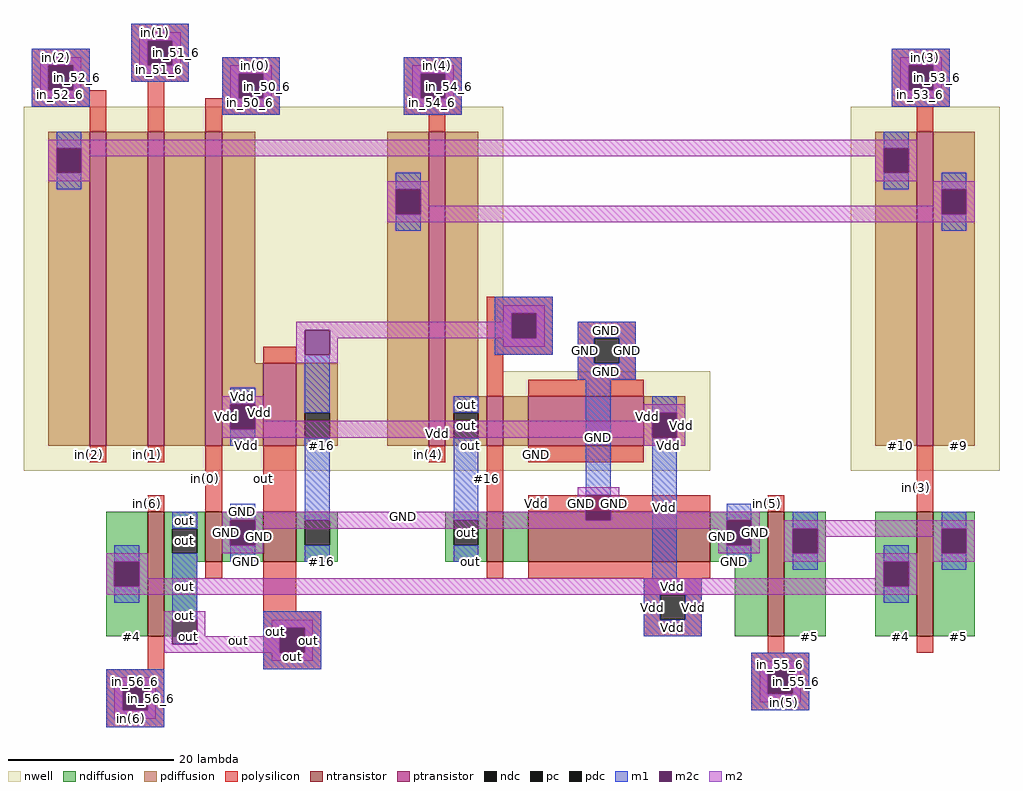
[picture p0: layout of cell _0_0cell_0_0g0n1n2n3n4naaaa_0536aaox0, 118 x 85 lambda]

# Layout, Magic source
magic
tech sky130l
<< nwell >>
rect 5 45 63 77
rect 5 33 88 45
rect 105 33 123 77
<< ndiffusion >>
rect 15 22 20 28
rect 15 19 16 22
rect 19 19 20 22
rect 15 13 20 19
rect 22 26 27 28
rect 22 23 23 26
rect 26 23 27 26
rect 22 22 27 23
rect 29 27 34 28
rect 29 24 30 27
rect 33 24 34 27
rect 29 22 34 24
rect 38 27 43 28
rect 38 24 39 27
rect 42 24 43 27
rect 38 22 43 24
rect 56 27 61 28
rect 56 24 57 27
rect 60 24 61 27
rect 56 22 61 24
rect 63 22 66 28
rect 88 27 95 28
rect 88 24 90 27
rect 93 24 95 27
rect 88 22 95 24
rect 22 13 26 22
rect 91 13 95 22
rect 97 26 102 28
rect 97 23 98 26
rect 101 23 102 26
rect 97 13 102 23
rect 108 22 113 28
rect 108 19 109 22
rect 112 19 113 22
rect 108 13 113 19
rect 115 26 120 28
rect 115 23 116 26
rect 119 23 120 26
rect 115 13 120 23
<< ndc >>
rect 16 19 19 22
rect 23 23 26 26
rect 30 24 33 27
rect 39 24 42 27
rect 57 24 60 27
rect 90 24 93 27
rect 98 23 101 26
rect 109 19 112 22
rect 116 23 119 26
<< ntransistor >>
rect 20 13 22 28
rect 27 22 29 28
rect 34 22 38 28
rect 61 22 63 28
rect 66 22 88 28
rect 95 13 97 28
rect 113 13 115 28
<< pdiffusion >>
rect 8 72 13 74
rect 8 69 9 72
rect 12 69 13 72
rect 8 36 13 69
rect 15 36 20 74
rect 22 36 27 74
rect 29 46 33 74
rect 49 67 54 74
rect 49 64 50 67
rect 53 64 54 67
rect 29 41 34 46
rect 29 38 30 41
rect 33 38 34 41
rect 29 36 34 38
rect 38 40 43 46
rect 38 37 39 40
rect 42 37 43 40
rect 38 36 43 37
rect 49 36 54 64
rect 56 42 60 74
rect 108 72 113 74
rect 108 69 109 72
rect 112 69 113 72
rect 56 40 61 42
rect 56 37 57 40
rect 60 37 61 40
rect 56 36 61 37
rect 63 36 66 42
rect 80 40 85 42
rect 80 37 81 40
rect 84 37 85 40
rect 80 36 85 37
rect 108 36 113 69
rect 115 67 120 74
rect 115 64 116 67
rect 119 64 120 67
rect 115 36 120 64
<< pdc >>
rect 9 69 12 72
rect 50 64 53 67
rect 30 38 33 41
rect 39 37 42 40
rect 109 69 112 72
rect 57 37 60 40
rect 81 37 84 40
rect 116 64 119 67
<< ptransistor >>
rect 13 36 15 74
rect 20 36 22 74
rect 27 36 29 74
rect 34 36 38 46
rect 54 36 56 74
rect 61 36 63 42
rect 66 36 80 42
rect 113 36 115 74
<< polysilicon >>
rect 18 85 25 87
rect 6 82 13 84
rect 6 79 8 82
rect 11 79 13 82
rect 18 82 20 85
rect 23 82 25 85
rect 18 80 25 82
rect 29 81 36 83
rect 6 77 15 79
rect 13 74 15 77
rect 20 74 22 80
rect 29 78 31 81
rect 34 78 36 81
rect 27 76 36 78
rect 51 81 58 83
rect 51 78 53 81
rect 56 78 58 81
rect 51 76 58 78
rect 110 82 117 84
rect 110 79 112 82
rect 115 79 117 82
rect 110 77 117 79
rect 27 74 29 76
rect 54 74 56 76
rect 113 74 115 77
rect 34 46 38 48
rect 61 52 69 54
rect 61 49 64 52
rect 67 49 69 52
rect 61 47 69 49
rect 72 49 79 51
rect 61 42 63 47
rect 72 46 74 49
rect 77 46 79 49
rect 72 44 79 46
rect 66 42 80 44
rect 13 34 15 36
rect 20 34 22 36
rect 20 28 22 30
rect 27 28 29 36
rect 34 28 38 36
rect 54 34 56 36
rect 61 28 63 36
rect 66 34 80 36
rect 66 28 88 30
rect 95 28 97 30
rect 113 28 115 36
rect 27 20 29 22
rect 34 16 38 22
rect 61 20 63 22
rect 66 20 88 22
rect 80 18 87 20
rect 34 14 41 16
rect 20 9 22 13
rect 34 11 36 14
rect 39 11 41 14
rect 80 15 82 18
rect 85 15 87 18
rect 80 13 87 15
rect 95 11 97 13
rect 113 11 115 13
rect 34 9 41 11
rect 93 9 100 11
rect 15 7 22 9
rect 15 4 17 7
rect 20 4 22 7
rect 93 6 95 9
rect 98 6 100 9
rect 93 4 100 6
rect 15 2 22 4
<< pc >>
rect 8 79 11 82
rect 20 82 23 85
rect 31 78 34 81
rect 53 78 56 81
rect 112 79 115 82
rect 64 49 67 52
rect 74 46 77 49
rect 36 11 39 14
rect 82 15 85 18
rect 17 4 20 7
rect 95 6 98 9
<< m1 >>
rect 18 85 25 87
rect 6 82 13 84
rect 6 79 8 82
rect 11 79 13 82
rect 18 82 20 85
rect 23 82 25 85
rect 18 80 25 82
rect 29 81 36 83
rect 6 77 13 79
rect 29 78 31 81
rect 34 78 36 81
rect 29 76 36 78
rect 51 81 58 83
rect 51 78 53 81
rect 56 78 58 81
rect 51 76 58 78
rect 110 82 117 84
rect 110 79 112 82
rect 115 79 117 82
rect 110 77 117 79
rect 9 72 12 74
rect 109 72 112 74
rect 9 67 12 69
rect 50 67 53 69
rect 109 67 112 69
rect 116 67 119 69
rect 50 62 53 64
rect 116 62 119 64
rect 62 52 69 54
rect 62 49 64 52
rect 67 49 69 52
rect 62 47 69 49
rect 72 49 79 51
rect 30 41 33 43
rect 30 36 33 38
rect 39 40 42 47
rect 72 46 74 49
rect 77 46 79 49
rect 72 44 79 46
rect 23 26 26 28
rect 16 22 19 24
rect 16 17 19 19
rect 23 15 26 23
rect 30 27 33 29
rect 30 22 33 24
rect 39 27 42 37
rect 39 22 42 24
rect 57 40 60 42
rect 57 27 60 37
rect 73 30 76 44
rect 81 40 84 42
rect 57 22 60 24
rect 81 20 84 37
rect 90 27 93 29
rect 90 22 93 24
rect 98 26 101 28
rect 116 26 119 28
rect 98 21 101 23
rect 109 22 112 24
rect 80 18 87 20
rect 34 14 41 16
rect 34 11 36 14
rect 39 11 41 14
rect 80 15 82 18
rect 85 15 87 18
rect 116 21 119 23
rect 109 17 112 19
rect 80 13 87 15
rect 34 9 41 11
rect 93 9 100 11
rect 15 7 22 9
rect 15 4 17 7
rect 20 4 22 7
rect 93 6 95 9
rect 98 6 100 9
rect 93 4 100 6
rect 15 2 22 4
<< m2c >>
rect 8 79 11 82
rect 20 82 23 85
rect 31 78 34 81
rect 53 78 56 81
rect 112 79 115 82
rect 9 69 12 72
rect 109 69 112 72
rect 50 64 53 67
rect 116 64 119 67
rect 39 47 42 50
rect 64 49 67 52
rect 30 38 33 41
rect 16 19 19 22
rect 30 24 33 27
rect 73 27 76 30
rect 81 37 84 40
rect 90 24 93 27
rect 98 23 101 26
rect 23 12 26 15
rect 36 11 39 14
rect 109 19 112 22
rect 116 23 119 26
rect 17 4 20 7
rect 95 6 98 9
<< m2 >>
rect 19 85 24 86
rect 7 82 12 83
rect 7 79 8 82
rect 11 79 12 82
rect 19 82 20 85
rect 23 82 24 85
rect 111 82 116 83
rect 19 81 24 82
rect 30 81 35 82
rect 7 78 12 79
rect 30 78 31 81
rect 34 78 35 81
rect 30 77 35 78
rect 52 81 57 82
rect 52 78 53 81
rect 56 78 57 81
rect 111 79 112 82
rect 115 79 116 82
rect 111 78 116 79
rect 52 77 57 78
rect 8 72 113 73
rect 8 69 9 72
rect 12 71 109 72
rect 12 69 13 71
rect 8 68 13 69
rect 108 69 109 71
rect 112 69 113 72
rect 108 68 113 69
rect 49 67 54 68
rect 49 64 50 67
rect 53 65 54 67
rect 115 67 120 68
rect 115 65 116 67
rect 53 64 116 65
rect 119 64 120 67
rect 49 63 120 64
rect 63 52 68 53
rect 63 51 64 52
rect 38 50 64 51
rect 38 47 39 50
rect 42 49 64 50
rect 67 49 68 52
rect 42 47 43 49
rect 63 48 68 49
rect 38 46 43 47
rect 29 41 34 42
rect 29 38 30 41
rect 33 39 34 41
rect 80 40 85 41
rect 80 39 81 40
rect 33 38 81 39
rect 29 37 81 38
rect 84 37 85 40
rect 80 36 85 37
rect 72 30 77 31
rect 72 28 73 30
rect 29 27 73 28
rect 76 28 77 30
rect 76 27 94 28
rect 29 24 30 27
rect 33 26 90 27
rect 33 24 34 26
rect 29 23 34 24
rect 89 24 90 26
rect 93 24 94 27
rect 89 23 94 24
rect 97 26 120 27
rect 97 23 98 26
rect 101 25 116 26
rect 101 23 102 25
rect 115 23 116 25
rect 119 23 120 26
rect 15 22 20 23
rect 97 22 102 23
rect 108 22 113 23
rect 115 22 120 23
rect 15 19 16 22
rect 19 20 20 22
rect 108 20 109 22
rect 19 19 109 20
rect 112 19 113 22
rect 15 18 113 19
rect 22 15 27 16
rect 22 12 23 15
rect 26 13 27 15
rect 35 14 40 15
rect 35 13 36 14
rect 26 12 36 13
rect 22 11 36 12
rect 39 11 40 14
rect 35 10 40 11
rect 94 9 99 10
rect 16 7 21 8
rect 16 4 17 7
rect 20 4 21 7
rect 94 6 95 9
rect 98 6 99 9
rect 94 5 99 6
rect 16 3 21 4
<< labels >>
flabel ndiffusion 18 13 18 13 1 FreeSerif 8 0 0 0 #4
flabel ndiffusion 25 13 25 13 1 FreeSerif 8 0 0 0 out
flabel ndiffusion 91 22 91 22 1 FreeSerif 8 0 0 0 GND
flabel ndiffusion 100 13 100 13 1 FreeSerif 8 0 0 0 #5
flabel ndiffusion 118 13 118 13 1 FreeSerif 8 0 0 0 #5
flabel ndiffusion 111 13 111 13 1 FreeSerif 8 0 0 0 #4
flabel polysilicon 113 31 113 31 3 FreeSerif 8 0 0 0 in(3)
flabel polysilicon 95 29 95 29 3 FreeSerif 8 0 0 0 in(5)
flabel polysilicon 67 29 67 29 3 FreeSerif 8 0 0 0 Vdd
flabel polysilicon 67 35 67 35 3 FreeSerif 8 0 0 0 GND
flabel polysilicon 61 32 61 32 3 FreeSerif 8 0 0 0 #16
flabel polysilicon 54 35 54 35 3 FreeSerif 8 0 0 0 in(4)
flabel polysilicon 34 32 34 32 3 FreeSerif 8 0 0 0 out
flabel polysilicon 27 32 27 32 3 FreeSerif 8 0 0 0 in(0)
flabel polysilicon 20 35 20 35 3 FreeSerif 8 0 0 0 in(1)
flabel polysilicon 20 29 20 29 3 FreeSerif 8 0 0 0 in(6)
flabel polysilicon 13 35 13 35 3 FreeSerif 8 0 0 0 in(2)
flabel ndiffusion 32 22 32 22 1 FreeSerif 8 0 0 0 GND
flabel ndiffusion 41 22 41 22 1 FreeSerif 8 0 0 0 #16
flabel ndiffusion 59 22 59 22 1 FreeSerif 8 0 0 0 out
flabel pdiffusion 118 36 118 36 1 FreeSerif 8 0 0 0 #9
flabel pdiffusion 111 36 111 36 1 FreeSerif 8 0 0 0 #10
flabel pdiffusion 83 36 83 36 1 FreeSerif 8 0 0 0 Vdd
flabel pdiffusion 59 36 59 36 1 FreeSerif 8 0 0 0 out
flabel pdiffusion 52 36 52 36 1 FreeSerif 8 0 0 0 #9
flabel pdiffusion 41 36 41 36 1 FreeSerif 8 0 0 0 #16
flabel pdiffusion 32 36 32 36 1 FreeSerif 8 0 0 0 Vdd
flabel pdiffusion 11 36 11 36 1 FreeSerif 8 0 0 0 #10
flabel m2 s 93 24 94 27 1 FreeSerif 8 0 0 0 GND
port 1 nsew ground input
flabel m2 s 80 39 81 40 1 FreeSerif 8 0 0 0 Vdd
port 2 nsew power input
flabel m2 18 3 18 3 5 FreeSerif 8 0 0 0 in(6)
port 3 s
flabel m2 97 5 97 5 5 FreeSerif 8 0 0 0 in(5)
port 4 s
flabel m2 55 82 55 82 1 FreeSerif 8 0 0 0 in(4)
port 5 n
flabel m2 114 83 114 83 1 FreeSerif 8 0 0 0 in(3)
port 6 n
flabel m2 9 83 9 83 1 FreeSerif 8 0 0 0 in(2)
port 7 n
flabel m2 21 86 21 86 1 FreeSerif 8 0 0 0 in(1)
port 8 n
flabel m2 s 35 13 36 14 5 FreeSerif 8 0 0 0 out
port 9 nsew signal output
flabel m2 33 82 33 82 1 FreeSerif 8 0 0 0 in(0)
port 10 n
rlabel m2 s 34 78 35 81 1 in_50_6
port 1 nsew signal input
rlabel m2 s 30 81 35 82 1 in_50_6
port 1 nsew signal input
rlabel m2 s 31 78 34 81 1 in_50_6
port 1 nsew signal input
rlabel m2 s 30 77 35 78 1 in_50_6
port 1 nsew signal input
rlabel m2 s 30 78 31 81 1 in_50_6
port 1 nsew signal input
rlabel m1 s 34 78 36 81 1 in_50_6
port 1 nsew signal input
rlabel m1 s 31 78 34 81 1 in_50_6
port 1 nsew signal input
rlabel m1 s 29 76 36 78 1 in_50_6
port 1 nsew signal input
rlabel m1 s 29 78 31 81 1 in_50_6
port 1 nsew signal input
rlabel m1 s 29 81 36 83 5 in_50_6
port 1 nsew signal input
rlabel m2 s 19 81 24 82 1 in_51_6
port 2 nsew signal input
rlabel m2 s 23 82 24 85 5 in_51_6
port 2 nsew signal input
rlabel m2 s 20 82 23 85 5 in_51_6
port 2 nsew signal input
rlabel m2 s 19 82 20 85 5 in_51_6
port 2 nsew signal input
rlabel m2 s 19 85 24 86 5 in_51_6
port 2 nsew signal input
rlabel m1 s 23 82 25 85 5 in_51_6
port 2 nsew signal input
rlabel m1 s 20 82 23 85 5 in_51_6
port 2 nsew signal input
rlabel m1 s 18 80 25 82 1 in_51_6
port 2 nsew signal input
rlabel m1 s 18 82 20 85 5 in_51_6
port 2 nsew signal input
rlabel m1 s 18 85 25 87 5 in_51_6
port 2 nsew signal input
rlabel m2 s 11 79 12 82 1 in_52_6
port 3 nsew signal input
rlabel m2 s 8 79 11 82 3 in_52_6
port 3 nsew signal input
rlabel m2 s 7 78 12 79 3 in_52_6
port 3 nsew signal input
rlabel m2 s 7 79 8 82 3 in_52_6
port 3 nsew signal input
rlabel m2 s 7 82 12 83 4 in_52_6
port 3 nsew signal input
rlabel m1 s 11 79 13 82 1 in_52_6
port 3 nsew signal input
rlabel m1 s 8 79 11 82 3 in_52_6
port 3 nsew signal input
rlabel m1 s 6 77 13 79 3 in_52_6
port 3 nsew signal input
rlabel m1 s 6 79 8 82 3 in_52_6
port 3 nsew signal input
rlabel m1 s 6 82 13 84 4 in_52_6
port 3 nsew signal input
rlabel m2 s 115 79 116 82 1 in_53_6
port 4 nsew signal input
rlabel m2 s 112 79 115 82 1 in_53_6
port 4 nsew signal input
rlabel m2 s 111 78 116 79 1 in_53_6
port 4 nsew signal input
rlabel m2 s 111 79 112 82 1 in_53_6
port 4 nsew signal input
rlabel m2 s 111 82 116 83 5 in_53_6
port 4 nsew signal input
rlabel m1 s 115 79 117 82 1 in_53_6
port 4 nsew signal input
rlabel m1 s 112 79 115 82 1 in_53_6
port 4 nsew signal input
rlabel m1 s 110 77 117 79 1 in_53_6
port 4 nsew signal input
rlabel m1 s 110 79 112 82 1 in_53_6
port 4 nsew signal input
rlabel m1 s 110 82 117 84 5 in_53_6
port 4 nsew signal input
rlabel m2 s 52 77 57 78 1 in_54_6
port 5 nsew signal input
rlabel m2 s 56 78 57 81 1 in_54_6
port 5 nsew signal input
rlabel m2 s 53 78 56 81 1 in_54_6
port 5 nsew signal input
rlabel m2 s 52 78 53 81 1 in_54_6
port 5 nsew signal input
rlabel m2 s 52 81 57 82 1 in_54_6
port 5 nsew signal input
rlabel m1 s 56 78 58 81 1 in_54_6
port 5 nsew signal input
rlabel m1 s 53 78 56 81 1 in_54_6
port 5 nsew signal input
rlabel m1 s 51 76 58 78 1 in_54_6
port 5 nsew signal input
rlabel m1 s 51 78 53 81 1 in_54_6
port 5 nsew signal input
rlabel m1 s 51 81 58 83 5 in_54_6
port 5 nsew signal input
rlabel m2 s 98 6 99 9 1 in_55_6
port 6 nsew signal input
rlabel m2 s 95 6 98 9 1 in_55_6
port 6 nsew signal input
rlabel m2 s 94 5 99 6 1 in_55_6
port 6 nsew signal input
rlabel m2 s 94 6 95 9 1 in_55_6
port 6 nsew signal input
rlabel m2 s 94 9 99 10 1 in_55_6
port 6 nsew signal input
rlabel m1 s 93 9 100 11 1 in_55_6
port 6 nsew signal input
rlabel m1 s 98 6 100 9 1 in_55_6
port 6 nsew signal input
rlabel m1 s 95 6 98 9 1 in_55_6
port 6 nsew signal input
rlabel m1 s 93 4 100 6 1 in_55_6
port 6 nsew signal input
rlabel m1 s 93 6 95 9 1 in_55_6
port 6 nsew signal input
rlabel m2 s 20 4 21 7 1 in_56_6
port 7 nsew signal input
rlabel m2 s 17 4 20 7 1 in_56_6
port 7 nsew signal input
rlabel m2 s 16 3 21 4 1 in_56_6
port 7 nsew signal input
rlabel m2 s 16 4 17 7 1 in_56_6
port 7 nsew signal input
rlabel m2 s 16 7 21 8 1 in_56_6
port 7 nsew signal input
rlabel m1 s 20 4 22 7 1 in_56_6
port 7 nsew signal input
rlabel m1 s 17 4 20 7 1 in_56_6
port 7 nsew signal input
rlabel m1 s 15 2 22 4 1 in_56_6
port 7 nsew signal input
rlabel m1 s 15 4 17 7 1 in_56_6
port 7 nsew signal input
rlabel m1 s 15 7 22 9 1 in_56_6
port 7 nsew signal input
rlabel m2 s 35 14 40 15 1 out
port 9 nsew signal output
rlabel m2 s 35 10 40 11 1 out
port 9 nsew signal output
rlabel m2 s 39 11 40 14 1 out
port 9 nsew signal output
rlabel m2 s 26 12 36 13 1 out
port 9 nsew signal output
rlabel m2 s 26 13 27 15 1 out
port 9 nsew signal output
rlabel m2 s 36 11 39 14 1 out
port 9 nsew signal output
rlabel m2 s 23 12 26 15 1 out
port 9 nsew signal output
rlabel m2 s 22 11 36 12 1 out
port 9 nsew signal output
rlabel m2 s 22 12 23 15 1 out
port 9 nsew signal output
rlabel m2 s 22 15 27 16 1 out
port 9 nsew signal output
rlabel m1 s 57 24 60 27 1 out
port 9 nsew signal output
rlabel m1 s 57 27 60 37 1 out
port 9 nsew signal output
rlabel m1 s 57 37 60 40 1 out
port 9 nsew signal output
rlabel m1 s 57 40 60 42 1 out
port 9 nsew signal output
rlabel m1 s 57 22 60 24 1 out
port 9 nsew signal output
rlabel m1 s 39 11 41 14 1 out
port 9 nsew signal output
rlabel m1 s 36 11 39 14 1 out
port 9 nsew signal output
rlabel m1 s 34 9 41 11 1 out
port 9 nsew signal output
rlabel m1 s 34 11 36 14 1 out
port 9 nsew signal output
rlabel m1 s 34 14 41 16 1 out
port 9 nsew signal output
rlabel m1 s 23 23 26 26 1 out
port 9 nsew signal output
rlabel m1 s 23 26 26 28 1 out
port 9 nsew signal output
rlabel m1 s 23 12 26 15 1 out
port 9 nsew signal output
rlabel m1 s 23 15 26 23 1 out
port 9 nsew signal output
rlabel m2 s 80 40 85 41 1 Vdd
port 2 nsew power input
rlabel m2 s 80 36 85 37 1 Vdd
port 2 nsew power input
rlabel m2 s 84 37 85 40 1 Vdd
port 2 nsew power input
rlabel m2 s 33 38 81 39 1 Vdd
port 2 nsew power input
rlabel m2 s 33 39 34 41 1 Vdd
port 2 nsew power input
rlabel m2 s 81 37 84 40 1 Vdd
port 2 nsew power input
rlabel m2 s 30 38 33 41 1 Vdd
port 2 nsew power input
rlabel m2 s 29 37 81 38 1 Vdd
port 2 nsew power input
rlabel m2 s 29 38 30 41 1 Vdd
port 2 nsew power input
rlabel m2 s 29 41 34 42 1 Vdd
port 2 nsew power input
rlabel m1 s 81 37 84 40 1 Vdd
port 2 nsew power input
rlabel m1 s 81 40 84 42 1 Vdd
port 2 nsew power input
rlabel m1 s 80 13 87 15 1 Vdd
port 2 nsew power input
rlabel m1 s 85 15 87 18 1 Vdd
port 2 nsew power input
rlabel m1 s 82 15 85 18 1 Vdd
port 2 nsew power input
rlabel m1 s 30 36 33 38 1 Vdd
port 2 nsew power input
rlabel m1 s 30 38 33 41 1 Vdd
port 2 nsew power input
rlabel m1 s 30 41 33 43 1 Vdd
port 2 nsew power input
rlabel m1 s 80 15 82 18 1 Vdd
port 2 nsew power input
rlabel m1 s 80 18 87 20 1 Vdd
port 2 nsew power input
rlabel m1 s 81 20 84 37 1 Vdd
port 2 nsew power input
rlabel m2 s 90 24 93 27 1 GND
port 1 nsew ground input
rlabel m2 s 89 23 94 24 1 GND
port 1 nsew ground input
rlabel m2 s 89 24 90 26 1 GND
port 1 nsew ground input
rlabel m2 s 72 28 73 30 1 GND
port 1 nsew ground input
rlabel m2 s 72 30 77 31 1 GND
port 1 nsew ground input
rlabel m2 s 33 24 34 26 1 GND
port 1 nsew ground input
rlabel m2 s 33 26 90 27 1 GND
port 1 nsew ground input
rlabel m2 s 76 27 94 28 1 GND
port 1 nsew ground input
rlabel m2 s 76 28 77 30 1 GND
port 1 nsew ground input
rlabel m2 s 30 24 33 27 1 GND
port 1 nsew ground input
rlabel m2 s 73 27 76 30 1 GND
port 1 nsew ground input
rlabel m2 s 29 23 34 24 1 GND
port 1 nsew ground input
rlabel m2 s 29 24 30 27 1 GND
port 1 nsew ground input
rlabel m2 s 29 27 73 28 1 GND
port 1 nsew ground input
rlabel m1 s 77 46 79 49 1 GND
port 1 nsew ground input
rlabel m1 s 72 49 79 51 1 GND
port 1 nsew ground input
rlabel m1 s 73 27 76 30 1 GND
port 1 nsew ground input
rlabel m1 s 73 30 76 44 1 GND
port 1 nsew ground input
rlabel m1 s 74 46 77 49 1 GND
port 1 nsew ground input
rlabel m1 s 72 44 79 46 1 GND
port 1 nsew ground input
rlabel m1 s 72 46 74 49 1 GND
port 1 nsew ground input
rlabel m1 s 90 22 93 24 1 GND
port 1 nsew ground input
rlabel m1 s 90 24 93 27 1 GND
port 1 nsew ground input
rlabel m1 s 90 27 93 29 1 GND
port 1 nsew ground input
rlabel m1 s 30 24 33 27 1 GND
port 1 nsew ground input
rlabel m1 s 30 27 33 29 1 GND
port 1 nsew ground input
rlabel m1 s 30 22 33 24 1 GND
port 1 nsew ground input
<< properties >>
string FIXED_BBOX 0 0 128 92
string LEFclass CORE
string LEFsite CoreSite
string LEFsymmetry X Y
<< end >>
